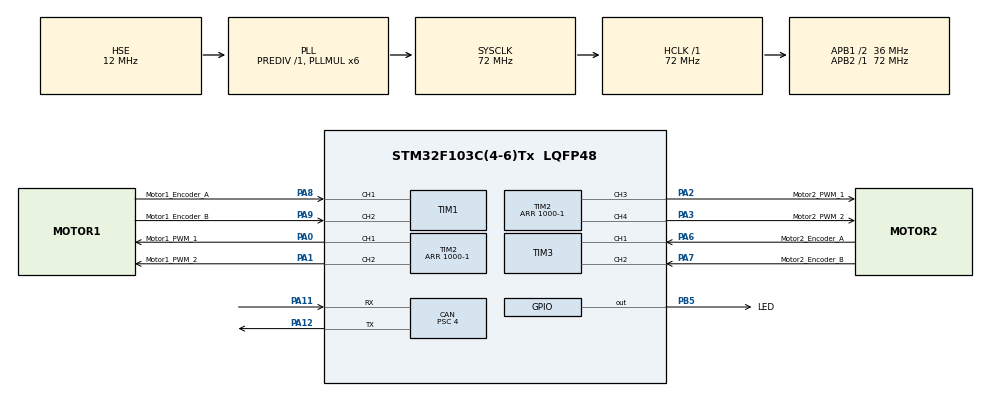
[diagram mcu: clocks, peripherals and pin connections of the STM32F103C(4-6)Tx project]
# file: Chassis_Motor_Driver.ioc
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CAN.ABOM=ENABLE
CAN.BS1=CAN_BS1_14TQ
CAN.BS2=CAN_BS2_3TQ
CAN.CalculateBaudRate=500000
CAN.CalculateTimeBit=2000
CAN.CalculateTimeQuantum=111.11111111111111
CAN.Mode=CAN_MODE_NORMAL
CAN.NART=DISABLE
CAN.Prescaler=4
Mcu.Family=STM32F1
Mcu.Name=STM32F103C(4-6)Tx
Mcu.Package=LQFP48
NVIC.PriorityGroup=NVIC_PRIORITYGROUP_4
NVIC.USB_HP_CAN1_TX_IRQn=true\:0\:0\:false\:false\:true\:true\:true\:true
NVIC.USB_LP_CAN1_RX0_IRQn=true\:0\:0\:false\:false\:true\:true\:true\:true
PA0-WKUP.GPIO_Label=Motor1_PWM_1
PA0-WKUP.Signal=S_TIM2_CH1_ETR
PA1.GPIO_Label=Motor1_PWM_2
PA1.Signal=S_TIM2_CH2
PA11.Mode=CAN_Activate
PA11.Signal=CAN_RX
PA12.Mode=CAN_Activate
PA12.Signal=CAN_TX
PA13.Mode=Serial_Wire
PA13.Signal=SYS_JTMS-SWDIO
PA14.Mode=Serial_Wire
PA14.Signal=SYS_JTCK-SWCLK
PA2.GPIO_Label=Motor2_PWM_1
PA2.Signal=S_TIM2_CH3
PA3.GPIO_Label=Motor2_PWM_2
PA3.Signal=S_TIM2_CH4
PA6.GPIO_Label=Motor2_Encoder_A
PA6.Signal=S_TIM3_CH1
PA7.GPIO_Label=Motor2_Encoder_B
PA7.Signal=S_TIM3_CH2
PA8.GPIO_Label=Motor1_Encoder_A
PA8.Signal=S_TIM1_CH1
PA9.GPIO_Label=Motor1_Encoder_B
PA9.Signal=S_TIM1_CH2
PB5.GPIO_Label=LED
PB5.GPIO_PuPd=GPIO_NOPULL
PB5.PinState=GPIO_PIN_RESET
PB5.Signal=GPIO_Output
PD0-OSC_IN.Mode=HSE-External-Oscillator
PD0-OSC_IN.Signal=RCC_OSC_IN
PD1-OSC_OUT.Mode=HSE-External-Oscillator
PD1-OSC_OUT.Signal=RCC_OSC_OUT
ProjectManager.HeapSize=0x200
ProjectManager.StackSize=0x400
ProjectManager.TargetToolchain=Makefile
RCC.AHBFreq_Value=72000000
RCC.APB1CLKDivider=RCC_HCLK_DIV2
RCC.APB1Freq_Value=36000000
RCC.APB1TimFreq_Value=72000000
RCC.APB2Freq_Value=72000000
RCC.APB2TimFreq_Value=72000000
RCC.HCLKFreq_Value=72000000
RCC.HSE_VALUE=12000000
RCC.PLLMUL=RCC_PLL_MUL6
RCC.PLLSourceVirtual=RCC_PLLSOURCE_HSE
RCC.SYSCLKFreq_VALUE=72000000
RCC.SYSCLKSource=RCC_SYSCLKSOURCE_PLLCLK
RCC.TimSys_Div=SYSTICK_CLKSOURCE_HCLK_DIV8
RCC.USBFreq_Value=72000000
SH.S_TIM1_CH1.0=TIM1_CH1,Encoder_Interface
SH.S_TIM1_CH2.0=TIM1_CH2,Encoder_Interface
SH.S_TIM2_CH1_ETR.0=TIM2_CH1,PWM Generation1 CH1
SH.S_TIM2_CH2.0=TIM2_CH2,PWM Generation2 CH2
SH.S_TIM2_CH3.0=TIM2_CH3,PWM Generation3 CH3
SH.S_TIM2_CH4.0=TIM2_CH4,PWM Generation4 CH4
SH.S_TIM3_CH1.0=TIM3_CH1,Encoder_Interface
SH.S_TIM3_CH2.0=TIM3_CH2,Encoder_Interface
TIM1.EncoderMode=TIM_ENCODERMODE_TI12
TIM2.Channel-PWM\ Generation1\ CH1=TIM_CHANNEL_1
TIM2.Channel-PWM\ Generation2\ CH2=TIM_CHANNEL_2
TIM2.Channel-PWM\ Generation3\ CH3=TIM_CHANNEL_3
TIM2.Channel-PWM\ Generation4\ CH4=TIM_CHANNEL_4
TIM2.Period=1000-1
TIM3.EncoderMode=TIM_ENCODERMODE_TI12
board=custom

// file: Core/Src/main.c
/* USER CODE BEGIN Header */
/**
 ******************************************************************************
 * @file           : main.c
 * @brief          : Main program body
 ******************************************************************************
 * @attention
 *
 * Copyright (c) 2026 STMicroelectronics.
 * All rights reserved.
 *
 * This software is licensed under terms that can be found in the LICENSE file
 * in the root directory of this software component.
 * If no LICENSE file comes with this software, it is provided AS-IS.
 *
 ******************************************************************************
 */
/* USER CODE END Header */
#include "main.h"
#include "can.h"
#include "tim.h"
#include "gpio.h"

/* USER CODE BEGIN Includes */
#include "bsp_motor.h"
#include "bsp_encoder.h"
#include "bsp_can.h"
#include "app_control.h"
#include "app_protocol.h"
#include "app_debug.h"
/* USER CODE END Includes */

/* USER CODE BEGIN PD */
#define CONTROL_PERIOD_MS 10U // PID 控制与 CAN 状态上报周期 ms (100 Hz)
/* USER CODE END PD */

/* USER CODE BEGIN PV */
volatile uint8_t control_flag = 0;
/* USER CODE END PV */

void SystemClock_Config(void);
/* USER CODE BEGIN PFP */
void HAL_SYSTICK_Callback(void)
{
  static uint8_t control_divider = 0;

  if (++control_divider >= CONTROL_PERIOD_MS)
  {
    control_divider = 0;
    control_flag = 1;
  }
}
/* USER CODE END PFP */

int main(void)
{

  /* MCU Configuration--------------------------------------------------------*/

  /* Reset of all peripherals, Initializes the Flash interface and the Systick. */
  HAL_Init();

  /* Configure the system clock */
  SystemClock_Config();

  /* Initialize all configured peripherals */
  MX_GPIO_Init();
  MX_CAN_Init();
  MX_TIM1_Init();
  MX_TIM3_Init();
  MX_TIM2_Init();
  /* USER CODE BEGIN 2 */
  appControlInit();
  appProtocolInit();
  /* USER CODE END 2 */

  /* Infinite loop */
  while (1)
  {

    /* USER CODE BEGIN 3 */

    if (control_flag)
    {
      control_flag = 0;

      appControlLoop();

      ProtocolStatusFrame current_status;
      appProtocolGetStatusFrame(&current_status);
      appProtocolReport(&hcan, &current_status);
    }
  }
  /* USER CODE END 3 */
}

void SystemClock_Config(void)
{
  RCC_OscInitTypeDef RCC_OscInitStruct = {0};
  RCC_ClkInitTypeDef RCC_ClkInitStruct = {0};

  /** Initializes the RCC Oscillators according to the specified parameters
  * in the RCC_OscInitTypeDef structure.
  */
  RCC_OscInitStruct.OscillatorType = RCC_OSCILLATORTYPE_HSE;
  RCC_OscInitStruct.HSEState = RCC_HSE_ON;
  RCC_OscInitStruct.HSEPredivValue = RCC_HSE_PREDIV_DIV1;
  RCC_OscInitStruct.HSIState = RCC_HSI_ON;
  RCC_OscInitStruct.PLL.PLLState = RCC_PLL_ON;
  RCC_OscInitStruct.PLL.PLLSource = RCC_PLLSOURCE_HSE;
  RCC_OscInitStruct.PLL.PLLMUL = RCC_PLL_MUL6;
  if (HAL_RCC_OscConfig(&RCC_OscInitStruct) != HAL_OK)
  {
    Error_Handler();
  }

  /** Initializes the CPU, AHB and APB buses clocks
  */
  RCC_ClkInitStruct.ClockType = RCC_CLOCKTYPE_HCLK|RCC_CLOCKTYPE_SYSCLK
                              |RCC_CLOCKTYPE_PCLK1|RCC_CLOCKTYPE_PCLK2;
  RCC_ClkInitStruct.SYSCLKSource = RCC_SYSCLKSOURCE_PLLCLK;
  RCC_ClkInitStruct.AHBCLKDivider = RCC_SYSCLK_DIV1;
  RCC_ClkInitStruct.APB1CLKDivider = RCC_HCLK_DIV2;
  RCC_ClkInitStruct.APB2CLKDivider = RCC_HCLK_DIV1;

  if (HAL_RCC_ClockConfig(&RCC_ClkInitStruct, FLASH_LATENCY_2) != HAL_OK)
  {
    Error_Handler();
  }
}

/* USER CODE BEGIN 4 */

void HAL_CAN_ErrorCallback(CAN_HandleTypeDef *can_handle)
{
  if (can_handle == &hcan)
  {
    appDebugCanState(can_handle);
  }
}

/* USER CODE END 4 */

void Error_Handler(void)
{
  __disable_irq();
  while (1)
  {
  }
}
